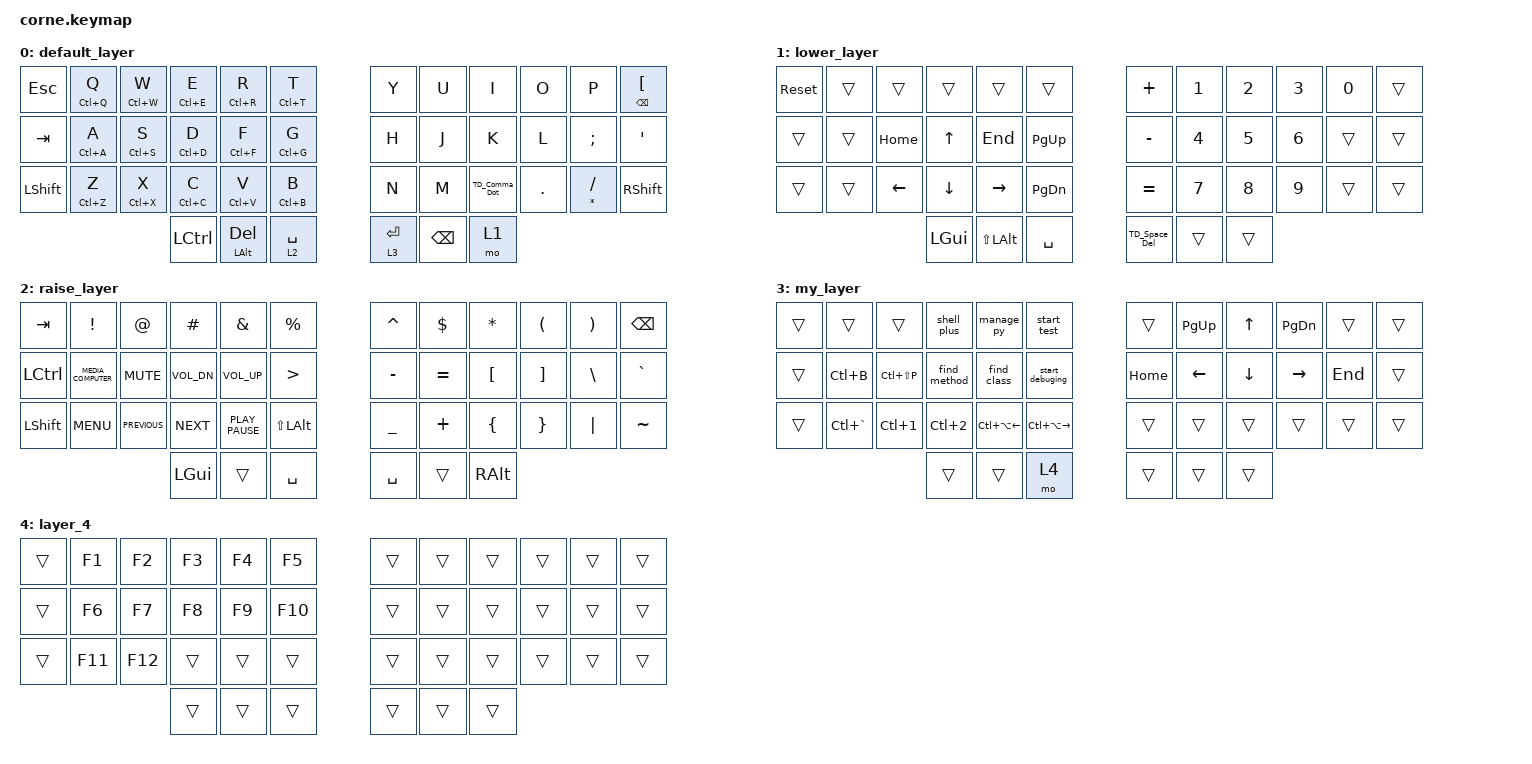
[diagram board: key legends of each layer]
/*
 * Copyright (c) 2020 The ZMK Contributors
 *
 * SPDX-License-Identifier: MIT
 */

#include <behaviors.dtsi>
#include <dt-bindings/zmk/keys.h>

/ {
    combos {
        compatible = "zmk,combos";

        Escape {
            bindings = <&kp ESC>;
            key-positions = <0 11>;
        };

        OpenParenthesis {
            bindings = <&kp LEFT_PARENTHESIS>;
            key-positions = <4 5>;
        };

        OpenBrace {
            bindings = <&kp LEFT_BRACE>;
            key-positions = <28 29>;
        };

        OpenBracket {
            bindings = <&kp LEFT_BRACKET>;
            key-positions = <16 17>;
        };

        CloseParenthasis {
            bindings = <&kp RIGHT_PARENTHESIS>;
            key-positions = <7 6>;
        };

        CloseBrace {
            bindings = <&kp RIGHT_BRACE>;
            key-positions = <30 31>;
        };

        CloseBracket {
            bindings = <&kp RIGHT_BRACKET>;
            key-positions = <18 19>;
        };

        LessThan {
            bindings = <&kp LESS_THAN>;
            key-positions = <3 2>;
        };

        GreatherThan {
            bindings = <&kp GREATER_THAN>;
            key-positions = <4 3>;
        };

        Enter {
            bindings = <&kp ENTER>;
            key-positions = <38 39>;
        };

        underscore {
            bindings = <&kp UNDERSCORE>;
            key-positions = <7 8>;
        };

        pipe {
            bindings = <&kp PIPE>;
            key-positions = <31 32>;
        };

        exclemation {
            bindings = <&kp EXCLAMATION>;
            key-positions = <19 20>;
        };

        plus {
            bindings = <&kp KP_PLUS>;
            key-positions = <8 9>;
        };

        minus {
            bindings = <&kp KP_MINUS>;
            key-positions = <20 21>;
        };

        equal {
            bindings = <&kp EQUAL>;
            key-positions = <32 33>;
        };

        question {
            bindings = <&kp QUESTION>;
            key-positions = <15 16>;
        };

        dot {
            bindings = <&kp DOT>;
            key-positions = <27 28>;
        };

        comma {
            bindings = <&kp COMMA>;
            key-positions = <27 26>;
        };

        double_quotes {
            bindings = <&kp DOUBLE_QUOTES>;
            key-positions = <15 14>;
        };

        single_quote {
            bindings = <&kp SINGLE_QUOTE>;
            key-positions = <13 14>;
        };
    };

    behaviors {
        TD_Comma_Dot: TD_Comma_Dot {
            compatible = "zmk,behavior-tap-dance";
            label = "TD_COMMA_DOT";
            #binding-cells = <0>;
            bindings = <&kp COMMA>, <&kp DOT>;
        };

        TD_Apostraf_quote: TD_Apostraf_quote {
            compatible = "zmk,behavior-tap-dance";
            label = "TD_APOSTRAF_QUOTE";
            #binding-cells = <0>;
            bindings = <&kp SQT>, <&kp DOUBLE_QUOTES>;
        };

        Hold_Tap: Hold_Tap {
            compatible = "zmk,behavior-hold-tap";
            label = "HOLD_TAP";
            bindings = <&kp>, <&kp>;

            #binding-cells = <2>;
            tapping-term-ms = <350>;
            flavor = "tap-preferred";
            hold-trigger-on-release;
        };

        TD_Space_Del: TD_Space_Del {
            compatible = "zmk,behavior-tap-dance";
            label = "TD_SPACE_DEL";
            #binding-cells = <0>;
            bindings = <&kp SPACE>, <&kp DEL>;
        };

        HT_with_layer: HT_with_layer {
            compatible = "zmk,behavior-hold-tap";
            label = "HT_WITH_LAYER";
            bindings = <&mo>, <&kp>;

            #binding-cells = <2>;
            tapping-term-ms = <350>;
        };
    };

    macros {
        find_class: find_class {
            compatible = "zmk,behavior-macro";
            #binding-cells = <0>;
            bindings = <&kp LC(E) &kp HASH &kp SPACE>;
            label = "FIND_CLASS";
        };

        find_method: find_method {
            compatible = "zmk,behavior-macro";
            #binding-cells = <0>;
            bindings = <&kp LC(E) &kp AT_SIGN &kp SPACE>;
            label = "FIND_METHOD";
        };

        start_test: start_test {
            compatible = "zmk,behavior-macro";
            #binding-cells = <0>;
            bindings = <&kp LC(SEMICOLON) &kp C>;
            label = "START_TEST";
        };

        start_debuging: start_debuging {
            compatible = "zmk,behavior-macro";
            #binding-cells = <0>;
            bindings = <&kp LC(SEMICOLON) &kp LC(C)>;
            label = "START_DEBUGING";
        };

        shell_plus: shell_plus {
            compatible = "zmk,behavior-macro";
            #binding-cells = <0>;
            bindings = <&kp P &kp Y &kp T &kp H &kp O &kp N &kp SPACE &kp M &kp A &kp N &kp A &kp G &kp E &kp DOT &kp P &kp Y &kp SPACE &kp S &kp H &kp E &kp L &kp L &kp UNDER &kp P &kp L &kp U &kp S>;
            label = "SHELL_PLUS";
        };

        manage_py: manage_py {
            compatible = "zmk,behavior-macro";
            #binding-cells = <0>;
            bindings = <&none &kp P &kp Y &kp T &kp H &kp O &kp N &kp SPACE &kp M &kp A &kp N &kp A &kp G &kp E &kp DOT &kp P &kp Y &kp SPACE>;
            label = "MANAGE_PY";
        };
    };

    keymap {
        compatible = "zmk,keymap";

        default_layer {
            // -----------------------------------------------------------------------------------------
            // |  TAB |  Q  |  W  |  E  |  R  |  T  |   |  Y  |  U   |  I  |  O  |  P  | BSPC |
            // | SHFT |  A  |  S  |  D  |  F  |  G  |   |  H  |  J   |  K  |  L  |  ;  | ENTR |
            // | CTRL |  Z  |  X  |  C  |  V  |  B  |   |  N  |  M   | ./, | '/" |  /* | EQU |
            //                    | GUI | LWR | SPC |   | SPC | L2   | L1  |

            bindings = <
&kp ESC         &Hold_Tap LC(Q) Q  &Hold_Tap LC(W) W  &Hold_Tap LC(E) E  &Hold_Tap LC(R) R       &Hold_Tap LC(T) T         &kp Y                   &kp U          &kp I          &kp O    &kp P          &Hold_Tap BACKSPACE LEFT_BRACKET
&kp TAB         &Hold_Tap LC(A) A  &Hold_Tap LC(S) S  &Hold_Tap LC(D) D  &Hold_Tap LC(F) F       &Hold_Tap LC(G) G         &kp H                   &kp J          &kp K          &kp L    &kp SEMI       &kp SINGLE_QUOTE
&kp LEFT_SHIFT  &Hold_Tap LC(Z) Z  &Hold_Tap LC(X) X  &Hold_Tap LC(C) C  &Hold_Tap LC(V) V       &Hold_Tap LC(B) B         &kp N                   &kp M          &TD_Comma_Dot  &kp DOT  &mt STAR FSLH  &kp RSHIFT
                                                      &kp LEFT_CONTROL   &Hold_Tap LEFT_ALT DEL  &HT_with_layer 2 SPACE    &HT_with_layer 3 ENTER  &kp BACKSPACE  &mo 1
            >;
        };

        lower_layer {
            // -----------------------------------------------------------------------------------------
            // | SYSR |     |     |     |     |     |   |     |  1  |  2  |  3  |  0  |      |
            // |      |     |     | UP  |     |     |   |     |  4  |  5  |  6  |     |      |
            // |      |     | LFT | DWN | RGT |     |   |     |  7  |  8  |  9  |     |      |
            //                    |     |     | SPC |   | SPC |     |     |

            bindings = <
&sys_reset  &trans  &trans    &trans    &trans            &trans           &kp PLUS       &kp NUMBER_1  &kp NUMBER_2  &kp NUMBER_3  &kp N0  &trans
&trans      &trans  &kp HOME  &kp UP    &kp END           &kp PG_UP        &kp MINUS      &kp NUMBER_4  &kp NUMBER_5  &kp NUMBER_6  &trans  &trans
&trans      &trans  &kp LEFT  &kp DOWN  &kp RIGHT         &kp PAGE_DOWN    &kp EQUAL      &kp NUMBER_7  &kp NUMBER_8  &kp NUMBER_9  &trans  &trans
                              &kp LGUI  &kp LS(LEFT_ALT)  &kp SPACE        &TD_Space_Del  &trans        &trans
            >;
        };

        raise_layer {
            // -----------------------------------------------------------------------------------------
            // |  TAB |  !  |  @  |  #  |  &  |  %  |   |  ^  |  $  |  *  |  (  |  )  | BSPC |
            // | CTRL |MUTE |V_UP |V_DWN|  <  |  >  |   |  -  |  =  |  [  |  ]  |  \  |  `   |
            // | SHFT |     |     |     |     |     |   |  _  |  +  |  {  |  }  | "|" |  ~   |
            //                    | GUI |     | SPC |   | SPC |     | ALT |

            bindings = <
&kp TAB    &kp EXCL              &kp AT          &kp HASH      &kp AMPERSAND     &kp PRCNT           &kp CARET  &kp DOLLAR  &kp ASTRK  &kp LPAR  &kp RPAR  &kp BSPC
&kp LCTRL  &kp C_MEDIA_COMPUTER  &kp C_MUTE      &kp C_VOL_DN  &kp C_VOLUME_UP   &kp GREATER_THAN    &kp MINUS  &kp EQUAL   &kp LBKT   &kp RBKT  &kp BSLH  &kp GRAVE
&kp LSHFT  &kp K_MENU            &kp K_PREVIOUS  &kp K_NEXT    &kp K_PLAY_PAUSE  &kp LS(LEFT_ALT)    &kp UNDER  &kp PLUS    &kp LBRC   &kp RBRC  &kp PIPE  &kp TILDE
                                                 &kp LGUI      &trans            &kp SPACE           &kp SPACE  &trans      &kp RALT
            >;
        };

        my_layer {
            bindings = <
&trans  &trans         &trans            &shell_plus       &manage_py              &start_test                &trans    &kp PG_UP  &kp UP_ARROW    &kp PAGE_DOWN    &trans   &trans
&trans  &kp LC(B)      &kp LC(LS(P))     &find_method      &find_class             &start_debuging            &kp HOME  &kp LEFT   &kp DOWN_ARROW  &kp RIGHT_ARROW  &kp END  &trans
&trans  &kp LC(GRAVE)  &kp LC(NUMBER_1)  &kp LC(NUMBER_2)  &kp LC(LA(LEFT_ARROW))  &kp LC(LA(RIGHT_ARROW))    &trans    &trans     &trans          &trans           &trans   &trans
                                         &trans            &trans                  &mo 4                      &trans    &trans     &trans
            >;
        };

        layer_4 {
            bindings = <
&trans  &kp F1   &kp F2   &kp F3  &kp F4  &kp F5     &trans  &trans  &trans  &trans  &trans  &trans
&trans  &kp F6   &kp F7   &kp F8  &kp F9  &kp F10    &trans  &trans  &trans  &trans  &trans  &trans
&trans  &kp F11  &kp F12  &trans  &trans  &trans     &trans  &trans  &trans  &trans  &trans  &trans
                          &trans  &trans  &trans     &trans  &trans  &trans
            >;
        };
    };
};

//For new Layers
// -----------------------------------------------------------------------------------------
// |      |     |     |     |     |     |   |     |     |     |     |     |      |
// |      |     |     |     |     |     |   |     |     |     |     |     |      |
// |      |     |     |     |     |     |   |     |     |     |     |     |      |
//                    |     |     |     |   |     |     |     |
